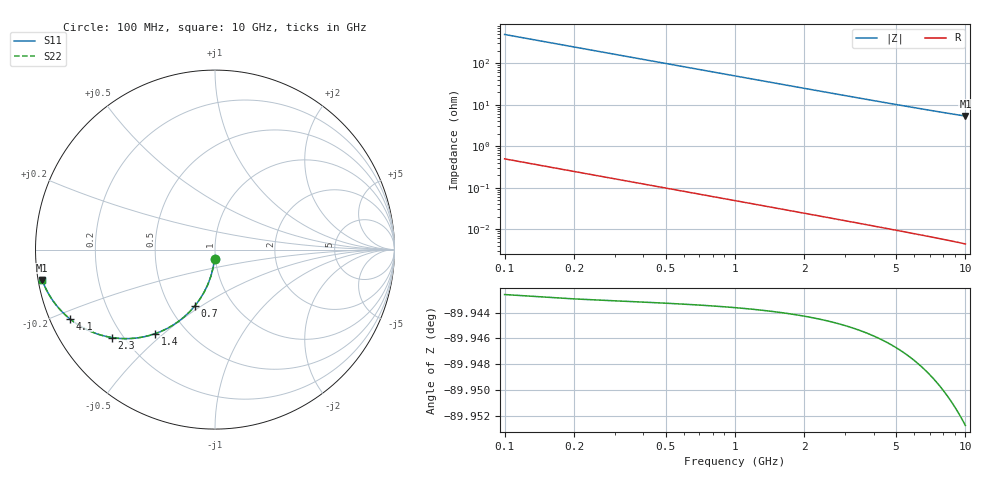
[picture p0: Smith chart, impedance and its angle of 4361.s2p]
# Hz S RI R 50.00
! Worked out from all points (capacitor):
!   100 points, 100 MHz to 10 GHz, reference 50 ohm
!   read as one part in shunt: C = 3.22 pF near 100 MHz
!   lowest |Z| = 5.33 ohm at 10 GHz (marker M1)
!   S11 on the Smith chart (normalised r, x): 100 MHz: 0.99, -0.10; 700 MHz: 0.67, -0.47; 1.4 GHz: 0.33, -0.47; 2.3 GHz: 0.16, -0.36; 4.1 GHz: 0.06, -0.22; 10 GHz: 0.01, -0.09
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1e8  -0.00258 -0.0503  0.9974 -0.0506  0.9974 -0.0506  -0.00258 -0.0503
2e8  -0.0102 -0.0998  0.9897 -0.1005  0.9897 -0.1005  -0.0102 -0.0998
3e8  -0.0226 -0.1478  0.9773 -0.1489  0.9773 -0.1489  -0.0226 -0.1478
4e8  -0.0395 -0.1937  0.9604 -0.195  0.9604 -0.195  -0.0395 -0.1937
5e8  -0.0603 -0.2368  0.9396 -0.2385  0.9396 -0.2385  -0.0603 -0.2368
6e8  -0.0846 -0.2768  0.9154 -0.2788  0.9154 -0.2788  -0.0846 -0.2768
7e8  -0.1116 -0.3133  0.8883 -0.3156  0.8883 -0.3156  -0.1116 -0.3133
8e8  -0.1409 -0.3461  0.859 -0.3488  0.859 -0.3488  -0.1409 -0.3461
1e9  -0.2039 -0.4007  0.7961 -0.4041  0.7961 -0.4041  -0.2039 -0.4007
1.2e9  -0.2692 -0.441  0.7307 -0.4451  0.7307 -0.4451  -0.2692 -0.441
1.4e9  -0.3338 -0.4687  0.6661 -0.4735  0.6661 -0.4735  -0.3338 -0.4687
1.6e9  -0.3954 -0.4857  0.6045 -0.4912  0.6045 -0.4912  -0.3954 -0.4857
1.8e9  -0.4527 -0.4942  0.5472 -0.5003  0.5472 -0.5003  -0.4527 -0.4942
2.3e9  -0.5743 -0.49  0.4256 -0.4979  0.4256 -0.4979  -0.5743 -0.49
2.8e9  -0.6663 -0.4662  0.3335 -0.4758  0.3335 -0.4758  -0.6663 -0.4662
3.4e9  -0.7464 -0.4287  0.2535 -0.4404  0.2535 -0.4404  -0.7464 -0.4287
4.1e9  -0.8105 -0.3842  0.1893 -0.3985  0.1893 -0.3985  -0.8105 -0.3842
5.1e9  -0.8688 -0.328  0.1309 -0.3459  0.1309 -0.3459  -0.8688 -0.328
5.8e9  -0.8956 -0.2949  0.1041 -0.3153  0.1041 -0.3153  -0.8956 -0.2949
6.7e9  -0.9198 -0.2588  0.0798 -0.2827  0.0798 -0.2827  -0.9198 -0.2588
8.4e9  -0.9478 -0.2062  0.0516 -0.2365  0.0516 -0.2365  -0.9478 -0.2062
1e10  -0.9629 -0.1692  0.0363 -0.2058  0.0363 -0.2058  -0.9629 -0.1692
